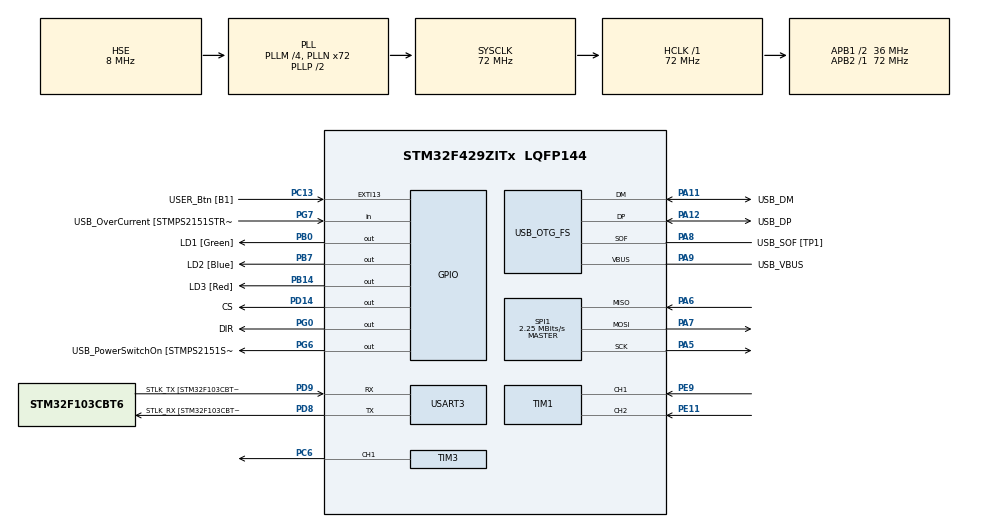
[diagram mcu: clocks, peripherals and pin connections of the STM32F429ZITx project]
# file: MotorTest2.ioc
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Mcu.Family=STM32F4
Mcu.Name=STM32F429ZITx
Mcu.Package=LQFP144
NVIC.PriorityGroup=NVIC_PRIORITYGROUP_4
PA1.GPIO_Label=RMII_REF_CLK [LAN8742A-CZ-TR_REFCLK0]
PA1.Signal=ETH_REF_CLK
PA10.GPIO_Label=USB_ID
PA10.Signal=USB_OTG_FS_ID
PA11.GPIO_Label=USB_DM
PA11.Mode=Device_Only
PA11.Signal=USB_OTG_FS_DM
PA12.GPIO_Label=USB_DP
PA12.Mode=Device_Only
PA12.Signal=USB_OTG_FS_DP
PA13.GPIO_Label=TMS
PA13.Mode=Trace_Asynchronous_SW
PA13.Signal=SYS_JTMS-SWDIO
PA14.GPIO_Label=TCK
PA14.Mode=Trace_Asynchronous_SW
PA14.Signal=SYS_JTCK-SWCLK
PA2.GPIO_Label=RMII_MDIO [LAN8742A-CZ-TR_MDIO]
PA2.Signal=ETH_MDIO
PA5.Mode=Full_Duplex_Master
PA5.Signal=SPI1_SCK
PA6.Mode=Full_Duplex_Master
PA6.Signal=SPI1_MISO
PA7.Mode=Full_Duplex_Master
PA7.Signal=SPI1_MOSI
PA8.GPIO_Label=USB_SOF [TP1]
PA8.Mode=Activate_SOF_FS
PA8.Signal=USB_OTG_FS_SOF
PA9.GPIO_Label=USB_VBUS
PA9.Mode=Activate_VBUS
PA9.Signal=USB_OTG_FS_VBUS
PB0.GPIO_Label=LD1 [Green]
PB0.Signal=GPIO_Output
PB13.GPIO_Label=RMII_TXD1 [LAN8742A-CZ-TR_TXD1]
PB13.Signal=ETH_TXD1
PB14.GPIO_Label=LD3 [Red]
PB14.Signal=GPIO_Output
PB3.Mode=Trace_Asynchronous_SW
PB3.Signal=SYS_JTDO-SWO
PB7.GPIO_Label=LD2 [Blue]
PB7.Signal=GPIO_Output
PB8.Signal=I2C1_SCL
PC1.GPIO_Label=RMII_MDC [LAN8742A-CZ-TR_MDC]
PC1.Signal=ETH_MDC
PC13.GPIO_Label=USER_Btn [B1]
PC13.Signal=GPXTI13
PC14/OSC32_IN.Mode=LSE-External-Oscillator
PC14/OSC32_IN.Signal=RCC_OSC32_IN
PC15/OSC32_OUT.Mode=LSE-External-Oscillator
PC15/OSC32_OUT.Signal=RCC_OSC32_OUT
PC6.Signal=S_TIM3_CH1
PD14.GPIO_Label=CS
PD14.Signal=GPIO_Output
PD8.GPIO_Label=STLK_RX [STM32F103CBT6_PA3]
PD8.Mode=Asynchronous
PD8.Signal=USART3_TX
PD9.GPIO_Label=STLK_TX [STM32F103CBT6_PA2]
PD9.Mode=Asynchronous
PD9.Signal=USART3_RX
PE11.Signal=S_TIM1_CH2
PE9.Signal=S_TIM1_CH1
PG0.GPIO_Label=DIR
PG0.Signal=GPIO_Output
PG11.GPIO_Label=RMII_TX_EN [LAN8742A-CZ-TR_TXEN]
PG11.Signal=ETH_TX_EN
PG13.GPIO_Label=RMII_TXD0 [LAN8742A-CZ-TR_TXD0]
PG13.Signal=ETH_TXD0
PG6.GPIO_Label=USB_PowerSwitchOn [STMPS2151STR_EN]
PG6.Signal=GPIO_Output
PG7.GPIO_Label=USB_OverCurrent [STMPS2151STR_FAULT]
PG7.Signal=GPIO_Input
PH0/OSC_IN.GPIO_Label=MCO [STM32F103CBT6_PA8]
PH0/OSC_IN.Mode=HSE-External-Clock-Source
PH0/OSC_IN.Signal=RCC_OSC_IN
PH1/OSC_OUT.Mode=HSE-External-Clock-Source
PH1/OSC_OUT.Signal=RCC_OSC_OUT
ProjectManager.HeapSize=0x200
ProjectManager.StackSize=0x400
ProjectManager.TargetToolchain=STM32CubeIDE
RCC.48MHZClocksFreq_Value=48000000
RCC.AHBFreq_Value=72000000
RCC.APB1CLKDivider=RCC_HCLK_DIV2
RCC.APB1Freq_Value=36000000
RCC.APB1TimFreq_Value=72000000
RCC.APB2Freq_Value=72000000
RCC.APB2TimFreq_Value=72000000
RCC.CortexFreq_Value=72000000
RCC.HCLKFreq_Value=72000000
RCC.HSE_VALUE=8000000
RCC.HSI_VALUE=16000000
RCC.PLLM=4
RCC.PLLMUL=RCC_PLL_MUL9
RCC.PLLN=72
RCC.PLLQ=3
RCC.PRESCALERUSB=RCC_USBCLKSOURCE_PLL_DIV1_5
RCC.SYSCLKFreq_VALUE=72000000
RCC.SYSCLKSource=RCC_SYSCLKSOURCE_PLLCLK
RCC.SYSCLKSourceVirtual=RCC_SYSCLKSOURCE_PLLCLK
RCC.USBFreq_Value=48000000
RCC.VCOOutputFreq_Value=144000000
SH.S_TIM1_CH1.0=TIM1_CH1,Encoder_Interface
SH.S_TIM1_CH2.0=TIM1_CH2,Encoder_Interface
SH.S_TIM3_CH1.0=TIM3_CH1,PWM Generation1 CH1
SPI1.BaudRatePrescaler=SPI_BAUDRATEPRESCALER_32
SPI1.CalculateBaudRate=2.25 MBits/s
SPI1.Direction=SPI_DIRECTION_2LINES
SPI1.Mode=SPI_MODE_MASTER
SPI1.VirtualType=VM_MASTER
TIM3.AutoReloadPreload=TIM_AUTORELOAD_PRELOAD_DISABLE
TIM3.Channel-PWM\ Generation1\ CH1=TIM_CHANNEL_1
TIM3.Period=100-1
TIM3.Prescaler=36-1
TIM3.Pulse-PWM\ Generation1\ CH1=50
USART3.VirtualMode=VM_ASYNC
USB_OTG_FS.VirtualMode=Device_Only
board=NUCLEO-F429ZI

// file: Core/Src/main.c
/* USER CODE BEGIN Header */
/**
  ******************************************************************************
  * @file           : main.c
  * @brief          : Main program body
  ******************************************************************************
  * @attention
  *
  * Copyright (c) 2022 STMicroelectronics.
  * All rights reserved.
  *
  * This software is licensed under terms that can be found in the LICENSE file
  * in the root directory of this software component.
  * If no LICENSE file comes with this software, it is provided AS-IS.
  *
  ******************************************************************************
  */
/* USER CODE END Header */
#include "main.h"

SPI_HandleTypeDef hspi1;

TIM_HandleTypeDef htim1;
TIM_HandleTypeDef htim3;

UART_HandleTypeDef huart3;

PCD_HandleTypeDef hpcd_USB_OTG_FS;

/* USER CODE BEGIN PV */
int16_t g_setpoint = 0;
int16_t g_pos = 0;
int16_t g_temp = 0;
/* USER CODE END PV */

void SystemClock_Config(void);
static void MX_GPIO_Init(void);
static void MX_USART3_UART_Init(void);
static void MX_USB_OTG_FS_PCD_Init(void);
static void MX_TIM1_Init(void);
static void MX_TIM3_Init(void);
static void MX_SPI1_Init(void);

/* USER CODE BEGIN 0 */
int __io_putchar(int ch)
{
 // Write character to ITM ch.0
 ITM_SendChar(ch);
 return(ch);
}

void waitUntilStop(){
	TIM3->CCR1 = 100;
	int val1 = 0;
	int val2 = 1;
	while (val1 != val2){
		val1 = TIM1->CNT;
		HAL_Delay (10);
		val2 = TIM1->CNT;
	}
}

double clamp(double x, double upper, double lower)
{
    return MIN(upper, MAX(x, lower));
}

void resetICM()
{
	uint8_t tx[2] = {W | DEVICE_CONFIG, 0x01};
	HAL_GPIO_WritePin (CS_GPIO_Port, CS_Pin, GPIO_PIN_RESET);
	HAL_SPI_Transmit(&hspi1, tx, 2, 1000);
	HAL_GPIO_WritePin (CS_GPIO_Port, CS_Pin, GPIO_PIN_SET);
	HAL_Delay(1);
}
void spiSet(uint8_t addr, uint8_t val)
{
	uint8_t tx[2] = {0};
	tx[0] = W | addr;
	tx[1] = val;
	HAL_GPIO_WritePin (CS_GPIO_Port, CS_Pin, GPIO_PIN_RESET);
	HAL_SPI_Transmit(&hspi1, tx, 2, SPI_WAIT);
	HAL_GPIO_WritePin (CS_GPIO_Port, CS_Pin, GPIO_PIN_SET);
}
void spiGet(uint8_t addr, uint8_t* rx, uint8_t num)
{
	uint8_t tx = R | addr;
	HAL_GPIO_WritePin (CS_GPIO_Port, CS_Pin, GPIO_PIN_RESET);
	HAL_SPI_Transmit(&hspi1, &tx, 1, SPI_WAIT);
	HAL_SPI_Receive(&hspi1, rx, num, SPI_WAIT);
	HAL_GPIO_WritePin (CS_GPIO_Port, CS_Pin, GPIO_PIN_SET);
}
/* USER CODE END 0 */

int main(void)
{

  /* MCU Configuration--------------------------------------------------------*/

  /* Reset of all peripherals, Initializes the Flash interface and the Systick. */
  HAL_Init();

  /* Configure the system clock */
  SystemClock_Config();

  /* Initialize all configured peripherals */
  MX_GPIO_Init();
  MX_USART3_UART_Init();
  MX_USB_OTG_FS_PCD_Init();
  MX_TIM1_Init();
  MX_TIM3_Init();
  MX_SPI1_Init();
  /* USER CODE BEGIN 2 */

  HAL_TIM_PWM_Start(&htim3, TIM_CHANNEL_1);
  HAL_TIM_Encoder_Start(&htim1, TIM_CHANNEL_ALL);

  uint32_t pulse = TIM3->CCR1;
  uint32_t startTime = HAL_GetTick();
  uint32_t currentTick = HAL_GetTick() - startTime;
  double speedFactor = 0;
  uint8_t dir = 0;
  uint8_t maxPower = 20;
  double K_P = 1;
  double K_I = 0.0000;
  double K_D = 0;
  double control = 0;
  double errorIntegral = 0;
  double errorDiff = 0;
  double dt = 10;
  double period = 1;
  double setpoint = 0;
  int16_t pos = 0;
  double error = 0;
  double prevError = 0;
  int16_t a_i[3] = {0};
  double a_d[3] = {0};
  HAL_GPIO_WritePin(DIR_GPIO_Port, DIR_Pin, GPIO_PIN_SET);
  uint8_t tx[2] = { 0 };
  uint8_t rx[6] = { 0 };
  double angle = 0;
  uint32_t start, end = 0;
  resetICM();

  spiSet(GYRO_CONFIG0, 0x06);
  //spiSet(ACCEL_CONFIG0, 0x0E);
  spiSet(PWR_MGMT0, 0x0F);
  HAL_Delay(45);
  /* USER CODE END 2 */

  /* Infinite loop */
  while (1)
  {

    /* USER CODE BEGIN 3 */
	  /*currentTime = HAL_GetTick() - startTime;

	  speedFactor = sin(currentTime/1000.0);
	  if((speedFactor<0) != dir){
		  waitUntilStop();
		  dir = !dir;
		  HAL_GPIO_WritePin(DIR_GPIO_Port, DIR_Pin, dir);
	  }*/
	  start = HAL_GetTick();
	  spiGet(WHO_AM_I, rx, 1);
	  //printf("WHO_AM_I %d\n", rx[0]);
	  spiGet(ACCEL_DATA_X1, rx, 6);

	  //printf("%d\n", rx[0]);

	  a_i[0] = (rx[0] << 8) | rx[1];
	  a_i[1] = (rx[2] << 8) | rx[3];
	  a_i[2] = (rx[4] << 8) | rx[5];
	  //printf("%d %d %d\n", gx, gy, gz);
	  a_d[0] = (double)a_i[0] / 32768 * 16.0;
	  a_d[1] = (double)a_i[1] / 32768 * 16.0;
	  a_d[2] = (double)a_i[2] / 32768 * 16.0;
	  //printf("%.4f %.4f %.4f\n", a_d[0], a_d[1], a_d[2]);

	  //Generate Step Function
	  currentTick = HAL_GetTick() - startTime;

	  angle = atan2(a_d[2], -a_d[0]) * 180 / M_PI;
	  setpoint = round(angle * 200.0 / 360.0);

	  //setpoint = 200*(((int)(currentTick/(period * 1000.0))) % 2);
	  pos = (TIM1->CNT);
	  prevError = error;
	  error = setpoint - pos;
	  errorIntegral += error * dt;
	  errorDiff = (error - prevError) / dt;
	  control = K_P * error + K_I * errorIntegral + K_D * errorDiff;
	  control = clamp(control, maxPower, -maxPower);

	  if((control<0) != dir){
		  waitUntilStop();
		  dir = !dir;
		  HAL_GPIO_WritePin(DIR_GPIO_Port, DIR_Pin, !dir);
	  }

	  pulse =  floor(100.0 - fabs(control));
	  //pulse = floor(100.0-100.0*fabs(speedFactor));
	  TIM3->CCR1 = pulse;

	  g_setpoint = setpoint;
	  g_pos = pos;
	  g_temp = errorIntegral;
	  printf("%d\n", pos);
	  printf("%f\n", setpoint);
	  /*ret = HAL_I2C_Mem_Read(&hi2c1, ICM_ADDR, DRIVE_CONFIG, 1, buf, 1, 1000);
		if (ret != HAL_OK){
			printf("Error Rx\r\n");
		}*/

	  //printf("\n");
	  //HAL_Delay (0);
	  end = HAL_GetTick();
	  while (end-start < dt){
		  HAL_Delay(0);
		  end = HAL_GetTick();
	  }
	  printf("Tick Time: %d\n", end-start);

  }
  /* USER CODE END 3 */
}

void SystemClock_Config(void)
{
  RCC_OscInitTypeDef RCC_OscInitStruct = {0};
  RCC_ClkInitTypeDef RCC_ClkInitStruct = {0};

  /** Configure the main internal regulator output voltage
  */
  __HAL_RCC_PWR_CLK_ENABLE();
  __HAL_PWR_VOLTAGESCALING_CONFIG(PWR_REGULATOR_VOLTAGE_SCALE3);
  /** Initializes the RCC Oscillators according to the specified parameters
  * in the RCC_OscInitTypeDef structure.
  */
  RCC_OscInitStruct.OscillatorType = RCC_OSCILLATORTYPE_HSE;
  RCC_OscInitStruct.HSEState = RCC_HSE_BYPASS;
  RCC_OscInitStruct.PLL.PLLState = RCC_PLL_ON;
  RCC_OscInitStruct.PLL.PLLSource = RCC_PLLSOURCE_HSE;
  RCC_OscInitStruct.PLL.PLLM = 4;
  RCC_OscInitStruct.PLL.PLLN = 72;
  RCC_OscInitStruct.PLL.PLLP = RCC_PLLP_DIV2;
  RCC_OscInitStruct.PLL.PLLQ = 3;
  if (HAL_RCC_OscConfig(&RCC_OscInitStruct) != HAL_OK)
  {
    Error_Handler();
  }
  /** Initializes the CPU, AHB and APB buses clocks
  */
  RCC_ClkInitStruct.ClockType = RCC_CLOCKTYPE_HCLK|RCC_CLOCKTYPE_SYSCLK
                              |RCC_CLOCKTYPE_PCLK1|RCC_CLOCKTYPE_PCLK2;
  RCC_ClkInitStruct.SYSCLKSource = RCC_SYSCLKSOURCE_PLLCLK;
  RCC_ClkInitStruct.AHBCLKDivider = RCC_SYSCLK_DIV1;
  RCC_ClkInitStruct.APB1CLKDivider = RCC_HCLK_DIV2;
  RCC_ClkInitStruct.APB2CLKDivider = RCC_HCLK_DIV1;

  if (HAL_RCC_ClockConfig(&RCC_ClkInitStruct, FLASH_LATENCY_2) != HAL_OK)
  {
    Error_Handler();
  }
}

static void MX_SPI1_Init(void)
{

  /* SPI1 parameter configuration*/
  hspi1.Instance = SPI1;
  hspi1.Init.Mode = SPI_MODE_MASTER;
  hspi1.Init.Direction = SPI_DIRECTION_2LINES;
  hspi1.Init.DataSize = SPI_DATASIZE_8BIT;
  hspi1.Init.CLKPolarity = SPI_POLARITY_LOW;
  hspi1.Init.CLKPhase = SPI_PHASE_1EDGE;
  hspi1.Init.NSS = SPI_NSS_SOFT;
  hspi1.Init.BaudRatePrescaler = SPI_BAUDRATEPRESCALER_32;
  hspi1.Init.FirstBit = SPI_FIRSTBIT_MSB;
  hspi1.Init.TIMode = SPI_TIMODE_DISABLE;
  hspi1.Init.CRCCalculation = SPI_CRCCALCULATION_DISABLE;
  hspi1.Init.CRCPolynomial = 10;
  if (HAL_SPI_Init(&hspi1) != HAL_OK)
  {
    Error_Handler();
  }

}

static void MX_TIM1_Init(void)
{

  TIM_Encoder_InitTypeDef sConfig = {0};
  TIM_MasterConfigTypeDef sMasterConfig = {0};

  htim1.Instance = TIM1;
  htim1.Init.Prescaler = 0;
  htim1.Init.CounterMode = TIM_COUNTERMODE_UP;
  htim1.Init.Period = 65535;
  htim1.Init.ClockDivision = TIM_CLOCKDIVISION_DIV1;
  htim1.Init.RepetitionCounter = 0;
  htim1.Init.AutoReloadPreload = TIM_AUTORELOAD_PRELOAD_DISABLE;
  sConfig.EncoderMode = TIM_ENCODERMODE_TI1;
  sConfig.IC1Polarity = TIM_ICPOLARITY_RISING;
  sConfig.IC1Selection = TIM_ICSELECTION_DIRECTTI;
  sConfig.IC1Prescaler = TIM_ICPSC_DIV1;
  sConfig.IC1Filter = 0;
  sConfig.IC2Polarity = TIM_ICPOLARITY_RISING;
  sConfig.IC2Selection = TIM_ICSELECTION_DIRECTTI;
  sConfig.IC2Prescaler = TIM_ICPSC_DIV1;
  sConfig.IC2Filter = 0;
  if (HAL_TIM_Encoder_Init(&htim1, &sConfig) != HAL_OK)
  {
    Error_Handler();
  }
  sMasterConfig.MasterOutputTrigger = TIM_TRGO_RESET;
  sMasterConfig.MasterSlaveMode = TIM_MASTERSLAVEMODE_DISABLE;
  if (HAL_TIMEx_MasterConfigSynchronization(&htim1, &sMasterConfig) != HAL_OK)
  {
    Error_Handler();
  }

}

static void MX_TIM3_Init(void)
{

  TIM_MasterConfigTypeDef sMasterConfig = {0};
  TIM_OC_InitTypeDef sConfigOC = {0};

  htim3.Instance = TIM3;
  htim3.Init.Prescaler = 36-1;
  htim3.Init.CounterMode = TIM_COUNTERMODE_UP;
  htim3.Init.Period = 100-1;
  htim3.Init.ClockDivision = TIM_CLOCKDIVISION_DIV1;
  htim3.Init.AutoReloadPreload = TIM_AUTORELOAD_PRELOAD_DISABLE;
  if (HAL_TIM_PWM_Init(&htim3) != HAL_OK)
  {
    Error_Handler();
  }
  sMasterConfig.MasterOutputTrigger = TIM_TRGO_RESET;
  sMasterConfig.MasterSlaveMode = TIM_MASTERSLAVEMODE_DISABLE;
  if (HAL_TIMEx_MasterConfigSynchronization(&htim3, &sMasterConfig) != HAL_OK)
  {
    Error_Handler();
  }
  sConfigOC.OCMode = TIM_OCMODE_PWM1;
  sConfigOC.Pulse = 50;
  sConfigOC.OCPolarity = TIM_OCPOLARITY_HIGH;
  sConfigOC.OCFastMode = TIM_OCFAST_DISABLE;
  if (HAL_TIM_PWM_ConfigChannel(&htim3, &sConfigOC, TIM_CHANNEL_1) != HAL_OK)
  {
    Error_Handler();
  }
  HAL_TIM_MspPostInit(&htim3);

}

static void MX_USART3_UART_Init(void)
{

  huart3.Instance = USART3;
  huart3.Init.BaudRate = 115200;
  huart3.Init.WordLength = UART_WORDLENGTH_8B;
  huart3.Init.StopBits = UART_STOPBITS_1;
  huart3.Init.Parity = UART_PARITY_NONE;
  huart3.Init.Mode = UART_MODE_TX_RX;
  huart3.Init.HwFlowCtl = UART_HWCONTROL_NONE;
  huart3.Init.OverSampling = UART_OVERSAMPLING_16;
  if (HAL_UART_Init(&huart3) != HAL_OK)
  {
    Error_Handler();
  }

}

static void MX_USB_OTG_FS_PCD_Init(void)
{

  hpcd_USB_OTG_FS.Instance = USB_OTG_FS;
  hpcd_USB_OTG_FS.Init.dev_endpoints = 4;
  hpcd_USB_OTG_FS.Init.speed = PCD_SPEED_FULL;
  hpcd_USB_OTG_FS.Init.dma_enable = DISABLE;
  hpcd_USB_OTG_FS.Init.phy_itface = PCD_PHY_EMBEDDED;
  hpcd_USB_OTG_FS.Init.Sof_enable = ENABLE;
  hpcd_USB_OTG_FS.Init.low_power_enable = DISABLE;
  hpcd_USB_OTG_FS.Init.lpm_enable = DISABLE;
  hpcd_USB_OTG_FS.Init.vbus_sensing_enable = ENABLE;
  hpcd_USB_OTG_FS.Init.use_dedicated_ep1 = DISABLE;
  if (HAL_PCD_Init(&hpcd_USB_OTG_FS) != HAL_OK)
  {
    Error_Handler();
  }

}

static void MX_GPIO_Init(void)
{
  GPIO_InitTypeDef GPIO_InitStruct = {0};

  /* GPIO Ports Clock Enable */
  __HAL_RCC_GPIOC_CLK_ENABLE();
  __HAL_RCC_GPIOH_CLK_ENABLE();
  __HAL_RCC_GPIOA_CLK_ENABLE();
  __HAL_RCC_GPIOB_CLK_ENABLE();
  __HAL_RCC_GPIOG_CLK_ENABLE();
  __HAL_RCC_GPIOE_CLK_ENABLE();
  __HAL_RCC_GPIOD_CLK_ENABLE();

  /*Configure GPIO pin Output Level */
  HAL_GPIO_WritePin(GPIOB, LD1_Pin|LD3_Pin|LD2_Pin, GPIO_PIN_RESET);

  /*Configure GPIO pin Output Level */
  HAL_GPIO_WritePin(GPIOG, DIR_Pin|USB_PowerSwitchOn_Pin, GPIO_PIN_RESET);

  /*Configure GPIO pin Output Level */
  HAL_GPIO_WritePin(CS_GPIO_Port, CS_Pin, GPIO_PIN_RESET);

  /*Configure GPIO pin : USER_Btn_Pin */
  GPIO_InitStruct.Pin = USER_Btn_Pin;
  GPIO_InitStruct.Mode = GPIO_MODE_IT_RISING;
  GPIO_InitStruct.Pull = GPIO_NOPULL;
  HAL_GPIO_Init(USER_Btn_GPIO_Port, &GPIO_InitStruct);

  /*Configure GPIO pin : RMII_MDC_Pin */
  GPIO_InitStruct.Pin = RMII_MDC_Pin;
  GPIO_InitStruct.Mode = GPIO_MODE_AF_PP;
  GPIO_InitStruct.Pull = GPIO_NOPULL;
  GPIO_InitStruct.Speed = GPIO_SPEED_FREQ_VERY_HIGH;
  GPIO_InitStruct.Alternate = GPIO_AF11_ETH;
  HAL_GPIO_Init(RMII_MDC_GPIO_Port, &GPIO_InitStruct);

  /*Configure GPIO pins : RMII_REF_CLK_Pin RMII_MDIO_Pin */
  GPIO_InitStruct.Pin = RMII_REF_CLK_Pin|RMII_MDIO_Pin;
  GPIO_InitStruct.Mode = GPIO_MODE_AF_PP;
  GPIO_InitStruct.Pull = GPIO_NOPULL;
  GPIO_InitStruct.Speed = GPIO_SPEED_FREQ_VERY_HIGH;
  GPIO_InitStruct.Alternate = GPIO_AF11_ETH;
  HAL_GPIO_Init(GPIOA, &GPIO_InitStruct);

  /*Configure GPIO pins : LD1_Pin LD3_Pin LD2_Pin */
  GPIO_InitStruct.Pin = LD1_Pin|LD3_Pin|LD2_Pin;
  GPIO_InitStruct.Mode = GPIO_MODE_OUTPUT_PP;
  GPIO_InitStruct.Pull = GPIO_NOPULL;
  GPIO_InitStruct.Speed = GPIO_SPEED_FREQ_LOW;
  HAL_GPIO_Init(GPIOB, &GPIO_InitStruct);

  /*Configure GPIO pins : DIR_Pin USB_PowerSwitchOn_Pin */
  GPIO_InitStruct.Pin = DIR_Pin|USB_PowerSwitchOn_Pin;
  GPIO_InitStruct.Mode = GPIO_MODE_OUTPUT_PP;
  GPIO_InitStruct.Pull = GPIO_NOPULL;
  GPIO_InitStruct.Speed = GPIO_SPEED_FREQ_LOW;
  HAL_GPIO_Init(GPIOG, &GPIO_InitStruct);

  /*Configure GPIO pin : RMII_TXD1_Pin */
  GPIO_InitStruct.Pin = RMII_TXD1_Pin;
  GPIO_InitStruct.Mode = GPIO_MODE_AF_PP;
  GPIO_InitStruct.Pull = GPIO_NOPULL;
  GPIO_InitStruct.Speed = GPIO_SPEED_FREQ_VERY_HIGH;
  GPIO_InitStruct.Alternate = GPIO_AF11_ETH;
  HAL_GPIO_Init(RMII_TXD1_GPIO_Port, &GPIO_InitStruct);

  /*Configure GPIO pin : CS_Pin */
  GPIO_InitStruct.Pin = CS_Pin;
  GPIO_InitStruct.Mode = GPIO_MODE_OUTPUT_PP;
  GPIO_InitStruct.Pull = GPIO_NOPULL;
  GPIO_InitStruct.Speed = GPIO_SPEED_FREQ_LOW;
  HAL_GPIO_Init(CS_GPIO_Port, &GPIO_InitStruct);

  /*Configure GPIO pin : USB_OverCurrent_Pin */
  GPIO_InitStruct.Pin = USB_OverCurrent_Pin;
  GPIO_InitStruct.Mode = GPIO_MODE_INPUT;
  GPIO_InitStruct.Pull = GPIO_NOPULL;
  HAL_GPIO_Init(USB_OverCurrent_GPIO_Port, &GPIO_InitStruct);

  /*Configure GPIO pins : RMII_TX_EN_Pin RMII_TXD0_Pin */
  GPIO_InitStruct.Pin = RMII_TX_EN_Pin|RMII_TXD0_Pin;
  GPIO_InitStruct.Mode = GPIO_MODE_AF_PP;
  GPIO_InitStruct.Pull = GPIO_NOPULL;
  GPIO_InitStruct.Speed = GPIO_SPEED_FREQ_VERY_HIGH;
  GPIO_InitStruct.Alternate = GPIO_AF11_ETH;
  HAL_GPIO_Init(GPIOG, &GPIO_InitStruct);

  /*Configure GPIO pin : PB8 */
  GPIO_InitStruct.Pin = GPIO_PIN_8;
  GPIO_InitStruct.Mode = GPIO_MODE_AF_OD;
  GPIO_InitStruct.Pull = GPIO_NOPULL;
  GPIO_InitStruct.Speed = GPIO_SPEED_FREQ_VERY_HIGH;
  GPIO_InitStruct.Alternate = GPIO_AF4_I2C1;
  HAL_GPIO_Init(GPIOB, &GPIO_InitStruct);

}

void Error_Handler(void)
{
  __disable_irq();
  while (1)
  {
  }
}
